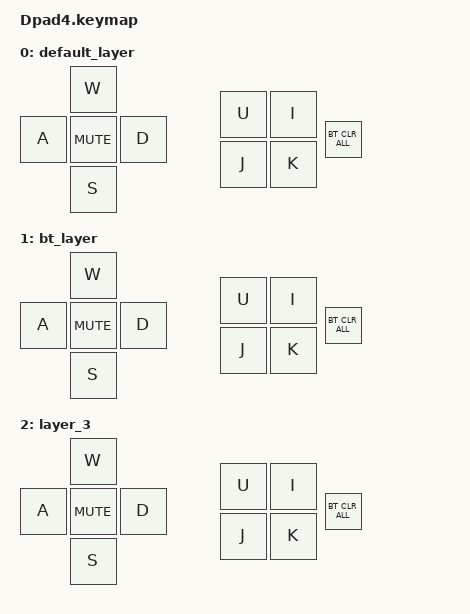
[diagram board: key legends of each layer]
#include <behaviors.dtsi>
#include <dt-bindings/zmk/keys.h>
#include <dt-bindings/zmk/bt.h>
#include <dt-bindings/zmk/pointing.h>


/ {

  keymap {
        compatible = "zmk,keymap";

        default_layer {
            bindings = < 
              &kp A     &kp W     &kp D     &kp S
              &kp U     &kp I     &kp J     &kp K
              &kp C_MUTE     &bt BT_CLR_ALL
            >;
        };

        bt_layer {
            bindings = <
                &kp A     &kp W     &kp D     &kp S
                &kp U     &kp I     &kp J     &kp K
                &kp C_MUTE     &bt BT_CLR_ALL
            >;
        };

        layer_3 {
            bindings = <
              &kp A     &kp W     &kp D     &kp S
              &kp U     &kp I     &kp J     &kp K
              &kp C_MUTE     &bt BT_CLR_ALL
            >;
        };
    };
};
